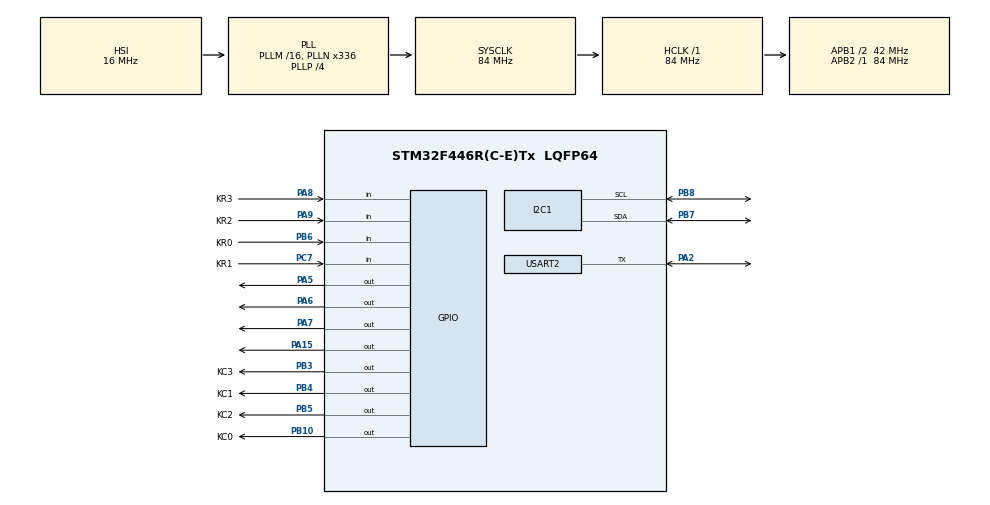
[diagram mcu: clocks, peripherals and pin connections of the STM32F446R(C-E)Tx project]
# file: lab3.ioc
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FREERTOS.Queues01=myQueue01,16,uint16_t,0,Dynamic,NULL,NULL
FREERTOS.Tasks01=defaultTask,0,128,StartDefaultTask,Default,NULL,Dynamic,NULL,NULL;myTask02,0,128,StartTask02,Default,NULL,Dynamic,NULL,NULL;myTask03,1,128,StartTask03,Default,NULL,Dynamic,NULL,NULL;myTask04,-3,128,StartTask04,Default,NULL,Dynamic,NULL,NULL
I2C1.I2C_Mode=I2C_Fast
Mcu.Family=STM32F4
Mcu.Name=STM32F446R(C-E)Tx
Mcu.Package=LQFP64
NVIC.PriorityGroup=NVIC_PRIORITYGROUP_4
NVIC.TIM6_DAC_IRQn=true\:0\:0\:false\:false\:true\:false\:false\:true\:true
NVIC.TimeBase=TIM6_DAC_IRQn
NVIC.TimeBaseIP=TIM6
PA13.Mode=Serial_Wire
PA13.Signal=SYS_JTMS-SWDIO
PA14.Mode=Serial_Wire
PA14.Signal=SYS_JTCK-SWCLK
PA15.Signal=GPIO_Output
PA2.Mode=Half_duplex(single_wire_mode)
PA2.Signal=USART2_TX
PA5.Signal=GPIO_Output
PA6.Signal=GPIO_Output
PA7.Signal=GPIO_Output
PA8.GPIO_Label=KR3
PA8.GPIO_PuPd=GPIO_PULLDOWN
PA8.Signal=GPIO_Input
PA9.GPIO_Label=KR2
PA9.GPIO_PuPd=GPIO_PULLDOWN
PA9.Signal=GPIO_Input
PB10.GPIO_Label=KC0
PB10.Signal=GPIO_Output
PB3.GPIO_Label=KC3
PB3.Signal=GPIO_Output
PB4.GPIO_Label=KC1
PB4.Signal=GPIO_Output
PB5.GPIO_Label=KC2
PB5.Signal=GPIO_Output
PB6.GPIO_Label=KR0
PB6.GPIO_PuPd=GPIO_PULLDOWN
PB6.Signal=GPIO_Input
PB7.Mode=I2C
PB7.Signal=I2C1_SDA
PB8.Mode=I2C
PB8.Signal=I2C1_SCL
PC14-OSC32_IN.Mode=LSE-External-Oscillator
PC14-OSC32_IN.Signal=RCC_OSC32_IN
PC15-OSC32_OUT.Mode=LSE-External-Oscillator
PC15-OSC32_OUT.Signal=RCC_OSC32_OUT
PC7.GPIO_Label=KR1
PC7.GPIO_PuPd=GPIO_PULLDOWN
PC7.Signal=GPIO_Input
PH0-OSC_IN.Mode=HSE-External-Oscillator
PH0-OSC_IN.Signal=RCC_OSC_IN
PH1-OSC_OUT.Mode=HSE-External-Oscillator
PH1-OSC_OUT.Signal=RCC_OSC_OUT
ProjectManager.HeapSize=0x200
ProjectManager.StackSize=0x400
ProjectManager.TargetToolchain=STM32CubeIDE
RCC.48MHZClocksFreq_Value=84000000
RCC.AHBFreq_Value=84000000
RCC.APB1CLKDivider=RCC_HCLK_DIV2
RCC.APB1Freq_Value=42000000
RCC.APB1TimFreq_Value=84000000
RCC.APB2Freq_Value=84000000
RCC.APB2TimFreq_Value=84000000
RCC.CortexFreq_Value=84000000
RCC.FLatency-AdvancedSettings=FLASH_LATENCY_2
RCC.HCLKFreq_Value=84000000
RCC.HSE_VALUE=8000000
RCC.HSI_VALUE=16000000
RCC.PLLN=336
RCC.PLLP=RCC_PLLP_DIV4
RCC.SYSCLKFreq_VALUE=84000000
RCC.SYSCLKSource=RCC_SYSCLKSOURCE_PLLCLK
RCC.USBFreq_Value=168000000
RCC.VCOOutputFreq_Value=336000000
USART2.VirtualMode=VM_ASYNC
VP_FREERTOS_VS_CMSIS_V1.Mode=CMSIS_V1
VP_SYS_VS_tim6.Mode=TIM6
board=NUCLEO-F446RE

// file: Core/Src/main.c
/* USER CODE BEGIN Header */
/**
 ******************************************************************************
 * @file           : main.c
 * @brief          : Main program body
 ******************************************************************************
 * @attention
 *
 * Copyright (c) 2024 STMicroelectronics.
 * All rights reserved.
 *
 * This software is licensed under terms that can be found in the LICENSE file
 * in the root directory of this software component.
 * If no LICENSE file comes with this software, it is provided AS-IS.
 *
 ******************************************************************************
 */
/* USER CODE END Header */
#include "main.h"
#include "cmsis_os.h"

/* USER CODE BEGIN Includes */
#include "Keypad4X4.h"
#include <stdio.h>
#include <string.h>
#include <stdlib.h>
#include "fonts.h"
#include "ssd1306.h"

/* USER CODE END Includes */

I2C_HandleTypeDef hi2c1;

UART_HandleTypeDef huart2;

osThreadId myDefaultTaskHandle;
osThreadId myTask02Handle;
osThreadId myTask03Handle;
osThreadId myTask04Handle;
osMessageQId myQueue01Handle;
/* USER CODE BEGIN PV */
extern char key;
char hold[4];
/* USER CODE END PV */

void SystemClock_Config(void);
static void MX_GPIO_Init(void);
static void MX_USART2_UART_Init(void);
static void MX_I2C1_Init(void);
void StartDefaultTask(void const *argument);
void StartTask02(void const *argument);
void StartTask03(void const *argument);
void StartTask04(void const *argument);

int buzzer = 0;
int movement = 0;
int armed = 0;

int main(void) {

	/* MCU Configuration--------------------------------------------------------*/

	/* Reset of all peripherals, Initializes the Flash interface and the Systick. */
	HAL_Init();

	/* Configure the system clock */
	SystemClock_Config();

	/* Initialize all configured peripherals */
	MX_GPIO_Init();
	MX_USART2_UART_Init();
	MX_I2C1_Init();
	/* USER CODE BEGIN 2 */
	/* USER CODE BEGIN 2 */
	SSD1306_Init();
	SSD1306_GotoXY(0, 0);
	//SSD1306_Puts ("Voltage:", &Font_11x18, 1);
	SSD1306_Puts("Set Code!", &Font_11x18, 1);
	HAL_UART_Transmit(&huart2, (uint8_t *)"Set Code!\r\n", 11, 100);
	SSD1306_GotoXY(0, 30);
	HAL_UART_Transmit(&huart2, (uint8_t *)"Code:", 5, 100);
	SSD1306_Puts("Code:", &Font_11x18, 1);
	SSD1306_UpdateScreen();
	//HAL_Delay(500);

	/* USER CODE END 2 */

	/* Create the queue(s) */
	/* definition and creation of myQueue01 */
	osMessageQDef(myQueue01, 16, char);
	myQueue01Handle = osMessageCreate(osMessageQ(myQueue01), NULL);

	/* Create the thread(s) */
	/* definition and creation of defaultTask */

	osThreadDef(defaultTask, StartDefaultTask, osPriorityAboveNormal, 0, 128);
	myDefaultTaskHandle = osThreadCreate(osThread(defaultTask), NULL);

	/* definition and creation of myTask02 */
	osThreadDef(myTask02, StartTask02, osPriorityAboveNormal, 0, 128);
	myTask02Handle = osThreadCreate(osThread(myTask02), NULL);

	/* definition and creation of myTask03 */
	osThreadDef(myTask03, StartTask03, osPriorityNormal, 0, 128);
	myTask03Handle = osThreadCreate(osThread(myTask03), NULL);

	/* USER CODE BEGIN RTOS_THREADS */
	osThreadDef(myTask04, StartTask04, osPriorityAboveNormal, 0, 128);
	myTask04Handle = osThreadCreate(osThread(myTask04), NULL);
	/* add threads, ... */
	/* USER CODE END RTOS_THREADS */

	/* Start scheduler */
	osKernelStart();

	/* We should never get here as control is now taken by the scheduler */
	/* Infinite loop */
	/* USER CODE BEGIN WHILE */
	while (1) {

	}
	/* USER CODE END 3 */
}

void SystemClock_Config(void) {
	RCC_OscInitTypeDef RCC_OscInitStruct = { 0 };
	RCC_ClkInitTypeDef RCC_ClkInitStruct = { 0 };

	/** Configure the main internal regulator output voltage
	 */
	__HAL_RCC_PWR_CLK_ENABLE();
	__HAL_PWR_VOLTAGESCALING_CONFIG(PWR_REGULATOR_VOLTAGE_SCALE3);

	/** Initializes the RCC Oscillators according to the specified parameters
	 * in the RCC_OscInitTypeDef structure.
	 */
	RCC_OscInitStruct.OscillatorType = RCC_OSCILLATORTYPE_HSI;
	RCC_OscInitStruct.HSIState = RCC_HSI_ON;
	RCC_OscInitStruct.HSICalibrationValue = RCC_HSICALIBRATION_DEFAULT;
	RCC_OscInitStruct.PLL.PLLState = RCC_PLL_ON;
	RCC_OscInitStruct.PLL.PLLSource = RCC_PLLSOURCE_HSI;
	RCC_OscInitStruct.PLL.PLLM = 16;
	RCC_OscInitStruct.PLL.PLLN = 336;
	RCC_OscInitStruct.PLL.PLLP = RCC_PLLP_DIV4;
	RCC_OscInitStruct.PLL.PLLQ = 2;
	RCC_OscInitStruct.PLL.PLLR = 2;
	if (HAL_RCC_OscConfig(&RCC_OscInitStruct) != HAL_OK) {
		Error_Handler();
	}

	/** Initializes the CPU, AHB and APB buses clocks
	 */
	RCC_ClkInitStruct.ClockType = RCC_CLOCKTYPE_HCLK | RCC_CLOCKTYPE_SYSCLK
			| RCC_CLOCKTYPE_PCLK1 | RCC_CLOCKTYPE_PCLK2;
	RCC_ClkInitStruct.SYSCLKSource = RCC_SYSCLKSOURCE_PLLCLK;
	RCC_ClkInitStruct.AHBCLKDivider = RCC_SYSCLK_DIV1;
	RCC_ClkInitStruct.APB1CLKDivider = RCC_HCLK_DIV2;
	RCC_ClkInitStruct.APB2CLKDivider = RCC_HCLK_DIV1;

	if (HAL_RCC_ClockConfig(&RCC_ClkInitStruct, FLASH_LATENCY_2) != HAL_OK) {
		Error_Handler();
	}
}

static void MX_I2C1_Init(void) {

	hi2c1.Instance = I2C1;
	hi2c1.Init.ClockSpeed = 400000;
	hi2c1.Init.DutyCycle = I2C_DUTYCYCLE_2;
	hi2c1.Init.OwnAddress1 = 0;
	hi2c1.Init.AddressingMode = I2C_ADDRESSINGMODE_7BIT;
	hi2c1.Init.DualAddressMode = I2C_DUALADDRESS_DISABLE;
	hi2c1.Init.OwnAddress2 = 0;
	hi2c1.Init.GeneralCallMode = I2C_GENERALCALL_DISABLE;
	hi2c1.Init.NoStretchMode = I2C_NOSTRETCH_DISABLE;
	if (HAL_I2C_Init(&hi2c1) != HAL_OK) {
		Error_Handler();
	}

}

static void MX_USART2_UART_Init(void) {

	huart2.Instance = USART2;
	huart2.Init.BaudRate = 9600;
	huart2.Init.WordLength = UART_WORDLENGTH_8B;
	huart2.Init.StopBits = UART_STOPBITS_1;
	huart2.Init.Parity = UART_PARITY_NONE;
	huart2.Init.Mode = UART_MODE_TX_RX;
	huart2.Init.HwFlowCtl = UART_HWCONTROL_NONE;
	huart2.Init.OverSampling = UART_OVERSAMPLING_16;
	if (HAL_UART_Init(&huart2) != HAL_OK) {
		Error_Handler();
	}

}

static void MX_GPIO_Init(void) {
	GPIO_InitTypeDef GPIO_InitStruct = { 0 };

	/* GPIO Ports Clock Enable */
	__HAL_RCC_GPIOC_CLK_ENABLE();
	__HAL_RCC_GPIOH_CLK_ENABLE();
	__HAL_RCC_GPIOA_CLK_ENABLE();
	__HAL_RCC_GPIOB_CLK_ENABLE();

	/*Configure GPIO pin Output Level */

	HAL_GPIO_WritePin(GPIOA, GPIO_PIN_5 | GPIO_PIN_6 | GPIO_PIN_7 | GPIO_PIN_15, GPIO_PIN_RESET);

	/*Configure GPIO pin Output Level */
	HAL_GPIO_WritePin(GPIOB, KC0_Pin | KC3_Pin | KC1_Pin | KC2_Pin,
			GPIO_PIN_RESET);

	/*Configure GPIO pin : PA5 */
	GPIO_InitStruct.Pin = GPIO_PIN_15;
	GPIO_InitStruct.Mode = GPIO_MODE_INPUT;
	GPIO_InitStruct.Pull = GPIO_NOPULL;
		HAL_GPIO_Init(GPIOA, &GPIO_InitStruct);

	/*Configure GPIO pin : PA5 */
	GPIO_InitStruct.Pin = GPIO_PIN_5;
	GPIO_InitStruct.Mode = GPIO_MODE_OUTPUT_PP;
	GPIO_InitStruct.Pull = GPIO_NOPULL;
	GPIO_InitStruct.Speed = GPIO_SPEED_FREQ_LOW;
	HAL_GPIO_Init(GPIOA, &GPIO_InitStruct);

	GPIO_InitStruct.Pin = GPIO_PIN_6;
	GPIO_InitStruct.Mode = GPIO_MODE_OUTPUT_PP;
	GPIO_InitStruct.Pull = GPIO_NOPULL;
	GPIO_InitStruct.Speed = GPIO_SPEED_FREQ_LOW;
	HAL_GPIO_Init(GPIOA, &GPIO_InitStruct);

	GPIO_InitStruct.Pin = GPIO_PIN_7;
	GPIO_InitStruct.Mode = GPIO_MODE_OUTPUT_PP;
	GPIO_InitStruct.Pull = GPIO_NOPULL;
	GPIO_InitStruct.Speed = GPIO_SPEED_FREQ_LOW;
	HAL_GPIO_Init(GPIOA, &GPIO_InitStruct);

	/*Configure GPIO pins : KC0_Pin KC3_Pin KC1_Pin KC2_Pin */
	GPIO_InitStruct.Pin = KC0_Pin | KC3_Pin | KC1_Pin | KC2_Pin;
	GPIO_InitStruct.Mode = GPIO_MODE_OUTPUT_PP;
	GPIO_InitStruct.Pull = GPIO_NOPULL;
	GPIO_InitStruct.Speed = GPIO_SPEED_FREQ_LOW;
	HAL_GPIO_Init(GPIOB, &GPIO_InitStruct);

	/*Configure GPIO pin : KR1_Pin */
	GPIO_InitStruct.Pin = KR1_Pin;
	GPIO_InitStruct.Mode = GPIO_MODE_INPUT;
	GPIO_InitStruct.Pull = GPIO_PULLDOWN;
	HAL_GPIO_Init(KR1_GPIO_Port, &GPIO_InitStruct);

	/*Configure GPIO pins : KR3_Pin KR2_Pin */
	GPIO_InitStruct.Pin = KR3_Pin | KR2_Pin;
	GPIO_InitStruct.Mode = GPIO_MODE_INPUT;
	GPIO_InitStruct.Pull = GPIO_PULLDOWN;
	HAL_GPIO_Init(GPIOA, &GPIO_InitStruct);

	/*Configure GPIO pin : KR0_Pin */
	GPIO_InitStruct.Pin = KR0_Pin;
	GPIO_InitStruct.Mode = GPIO_MODE_INPUT;
	GPIO_InitStruct.Pull = GPIO_PULLDOWN;
	HAL_GPIO_Init(KR0_GPIO_Port, &GPIO_InitStruct);

}

void StartDefaultTask(void const *argument) {
	/* USER CODE BEGIN 5 */
	/* Infinite loop */
	for (;;) {
		if (armed && buzzer) {
			HAL_GPIO_WritePin(GPIOA, GPIO_PIN_5, SET); // activate the buzzer
			osDelay(100);

			HAL_GPIO_WritePin(GPIOA, GPIO_PIN_5, RESET); // Stop the buzzer
			osDelay(100);
		} else {
			// Ensure buzzer is off when system is not armed or no buzzer
			HAL_GPIO_WritePin(GPIOA, GPIO_PIN_5, RESET);
			osDelay(100);
		}

		osDelay(100);
	}
	/* USER CODE END 5 */
}

void StartTask02(void const *argument) {
	/* USER CODE BEGIN StartTask02 */
	/* Infinite loop */
	char receivedKey;
	char enteredCode[7] = { 0 }; // Array to store the entered code, assuming max length + 1 for null terminator
	uint8_t codeLength = 0; // To track the number of entered characters
	 uint8_t maxCodeLength = 6; // Adjust based on your requirements
	 uint8_t minCodeLength = 4;
	 char correctCode[7] = { 0 }; // Example of a correct code for comparison
int initial = 1;

	for (;;) {

		if (armed) {
			HAL_GPIO_WritePin(GPIOA, GPIO_PIN_6, SET);
			HAL_GPIO_WritePin(GPIOA, GPIO_PIN_7, RESET);
			//osDelay(2000);
		} else {
			HAL_GPIO_WritePin(GPIOA, GPIO_PIN_7, SET);
			HAL_GPIO_WritePin(GPIOA, GPIO_PIN_6, RESET);
		}

		if(initial){
			HAL_GPIO_WritePin(GPIOA, GPIO_PIN_15, RESET);
			HAL_GPIO_WritePin(GPIOA, GPIO_PIN_6, SET);
			HAL_GPIO_WritePin(GPIOA, GPIO_PIN_7, SET);
		}

		if (xQueueReceive(myQueue01Handle, &receivedKey,
				portMAX_DELAY) == pdPASS) {
			if (receivedKey == '#' && codeLength >= minCodeLength && initial) { // Enter/confirm key or max length reached
				// Check if the entered code is correct
				strncpy(correctCode, enteredCode, sizeof(correctCode));

				SSD1306_Clear();
				SSD1306_GotoXY(0, 0);
				HAL_UART_Transmit(&huart2, (uint8_t *)"Code Set\r\n", 10, 100);
				SSD1306_Puts("Code Set", &Font_11x18, 1);
				SSD1306_UpdateScreen();

				HAL_Delay(2000);

				// MIGHT NEED TO REMOVE THIS
				armed = 1;

				SSD1306_Clear();
								SSD1306_GotoXY(0, 0);
									SSD1306_Puts("Armed!", &Font_11x18, 1);
									HAL_UART_Transmit(&huart2, (uint8_t *)"Armed!\r\n", 8, 100);
								SSD1306_GotoXY(0, 30); // Adjust Y position based on your font size
								HAL_UART_Transmit(&huart2, (uint8_t *)"Code:", 5, 100);
								SSD1306_Puts("Code:", &Font_11x18, 1);

								// REMOVE END HERE

				memset(enteredCode, 0, sizeof(enteredCode));
				codeLength = 0;

				initial = 0;
			}

				else if (receivedKey == '#' && codeLength >= minCodeLength && !initial) { // Enter/confirm key or max length reached
				// Check if the entered code is correct
				if (strncmp(enteredCode, correctCode, maxCodeLength) == 0) {
					// Code is correct
					SSD1306_Clear();
					SSD1306_GotoXY(0, 0);
					SSD1306_Puts("Success!", &Font_11x18, 1);

					HAL_UART_Transmit(&huart2, (uint8_t *)"Success!\r\n", 10, 100);

					if (armed) {
						armed = 0;
					} else {
						armed = 1;
					}
				} else {
					// Code is incorrect
					SSD1306_Clear();
					SSD1306_GotoXY(0, 0);
					SSD1306_Puts("Failed!", &Font_11x18, 1);
					HAL_UART_Transmit(&huart2, (uint8_t *)"Failed!\r\n", 9, 100);
					buzzer= 1;

				}
				SSD1306_UpdateScreen();
				HAL_Delay(2000); // Display message for 2 seconds

				// Reset display and code length for next entry
				SSD1306_Clear();
				SSD1306_GotoXY(0, 0);
				if (armed) {
					SSD1306_Puts("Armed!", &Font_11x18, 1);
					HAL_UART_Transmit(&huart2, (uint8_t *)"Armed!\r\n", 8, 100);

				} else {
					SSD1306_Puts("Not Armed!", &Font_11x18, 1);
					HAL_UART_Transmit(&huart2, (uint8_t *)"Not Armed!\r\n", 12, 100);

				}
				SSD1306_GotoXY(0, 30); // Adjust Y position based on your font size
				HAL_UART_Transmit(&huart2, (uint8_t *)"Code:", 5, 100);
				SSD1306_Puts("Code:", &Font_11x18, 1);
				SSD1306_UpdateScreen();
				memset(enteredCode, 0, sizeof(enteredCode)); // Clear the entered code
				codeLength = 0;
			} else {
				// Add received key to the entered code and update display with an additional asterisk
				if (codeLength < maxCodeLength) { // Prevent buffer overflow
					enteredCode[codeLength] = receivedKey; // Store the received key
					//SSD1306_GotoXY ((codeLength * 5), 30); // Adjust spacing based on font size
					SSD1306_Puts("*", &Font_11x18, 1);
					HAL_UART_Transmit(&huart2, (uint8_t *)"*", 1, 100);
					SSD1306_UpdateScreen();
					codeLength++;
					// Might  wait here? HAL_Delay (500);
				} else {
					printf("Error: Max Code Length Reached!\r\n");
				}
			}
		}
	}

	/* USER CODE END StartTask02 */
}

void StartTask03(void const *argument) {
	const TickType_t xDelay = 20 / portTICK_PERIOD_MS; // Debounce delay
	char keyToSend; // To hold the key to be sent

	for (;;) {
		keyToSend = Get_Key(); // Assume Get_Key() is debounced and returns '\0' if no key is pressed
		if (keyToSend != '\0') { // Check if a key is pressed
			// Send the key press to the display task
			if (xQueueSend(myQueue01Handle, &keyToSend, portMAX_DELAY) != pdPASS) {
				printf("Error: Data couldn't be sent from task 2\r\n");
			}
		}

		vTaskDelay(xDelay); // Wait for the next cycle
	}
	/* USER CODE END StartTask02 */
}

void StartTask04(void const *argument) {
	/* USER CODE BEGIN StartTask04 */
	/* Infinite loop */
	GPIO_PinState pirState;
	/* Infinite loop */
	for (;;) {

		pirState = HAL_GPIO_ReadPin(GPIOA, GPIO_PIN_15);

		if (pirState == GPIO_PIN_SET && armed) {

			HAL_UART_Transmit(&huart2, (uint8_t *)"Movement\r\n", 13, 100);
			buzzer = 1;

		} else {

			if(armed){
				//pirState = GPIO_PIN_RESET;
				HAL_UART_Transmit(&huart2, (uint8_t *)"No Movement\r\n", 13, 100);
			}

			buzzer = 0; // No buzzer
		}

		osDelay(100); // Check every 100ms
	}
	/* USER CODE END StartTask04 */
}

void HAL_TIM_PeriodElapsedCallback(TIM_HandleTypeDef *htim) {
	if (htim->Instance == TIM6) {
		HAL_IncTick();
	}
}

void Error_Handler(void) {
	__disable_irq();
	while (1) {
	}
}
